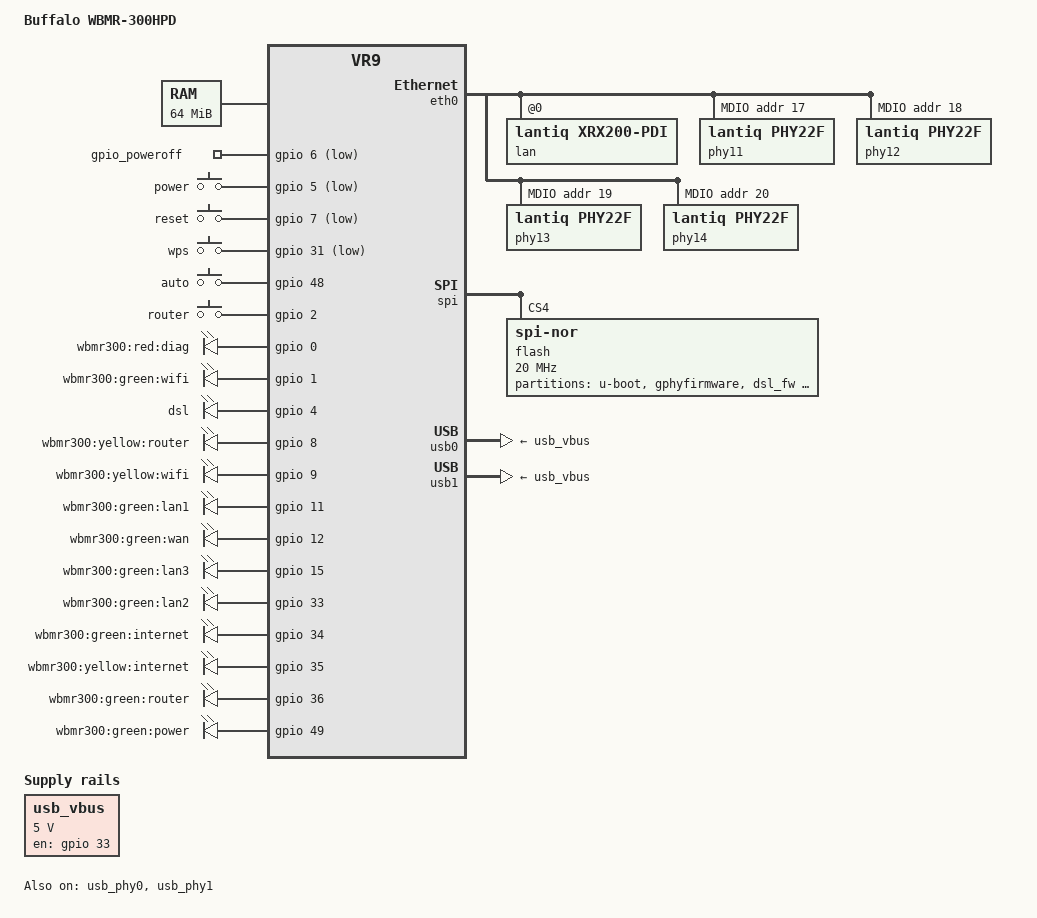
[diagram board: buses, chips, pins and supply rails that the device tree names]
/dts-v1/;

#include "vr9.dtsi"

#include <dt-bindings/input/input.h>
#include <dt-bindings/mips/lantiq_rcu_gphy.h>

/ {
	compatible = "buffalo,wbmr-300hpd", "lantiq,xway", "lantiq,vr9";
	model = "Buffalo WBMR-300HPD";

	chosen {
		bootargs = "console=ttyLTQ0,115200";
	};

	aliases {
		led-boot = &power_g;
		led-failsafe = &diag_r;
		led-running = &power_g;
		led-upgrade = &power_g;

		led-dsl = &dsl;
		led-internet = &router_g;
		led-wifi = &wifi_g;
	};

	memory@0 {
		device_type = "memory";
		reg = <0x0 0x4000000>;
	};

	gpio_poweroff {
		compatible = "gpio-poweroff";
		gpios = <&gpio 6 GPIO_ACTIVE_LOW>;
	};

	keys {
		compatible = "gpio-keys-polled";
		poll-interval = <100>;

		power {
			label = "power";
			gpios = <&gpio 5 GPIO_ACTIVE_LOW>;
			linux,code = <KEY_POWER>;
		};

		reset {
			label = "reset";
			gpios = <&gpio 7 GPIO_ACTIVE_LOW>;
			linux,code = <KEY_RESTART>;
		};

		wps {
			label = "wps";
			gpios = <&gpio 31 GPIO_ACTIVE_LOW>;
			linux,code = <KEY_WPS_BUTTON>;
		};

		auto {
			label = "auto";
			gpios = <&gpio 48 GPIO_ACTIVE_HIGH>;
			linux,code = <BTN_0>;
			linux,input-type = <EV_SW>;
		};

		router {
			label = "router";
			gpios = <&gpio 2 GPIO_ACTIVE_HIGH>;
			linux,code = <BTN_1>;
			linux,input-type = <EV_SW>;
		};
	};

	leds {
		compatible = "gpio-leds";

		diag_r: diag_r {
			label = "wbmr300:red:diag";
			gpios = <&gpio 0 GPIO_ACTIVE_HIGH>;
			default_state = "off";
		};

		wifi_g: wifi_g {
			label = "wbmr300:green:wifi";
			gpios = <&gpio 1 GPIO_ACTIVE_HIGH>;
		};

		dsl: dsl {
			label = "dsl";
			gpios = <&gpio 4 GPIO_ACTIVE_HIGH>;
		};

		router_y: router_y {
			label = "wbmr300:yellow:router";
			gpios = <&gpio 8 GPIO_ACTIVE_HIGH>;
		};

		wifi_y: wifi_y {
			label = "wbmr300:yellow:wifi";
			gpios = <&gpio 9 GPIO_ACTIVE_HIGH>;
		};

		lan1: lan1 {
			label = "wbmr300:green:lan1";
			gpios = <&gpio 11 GPIO_ACTIVE_HIGH>;
		};

		wan: wan {
			label = "wbmr300:green:wan";
			gpios = <&gpio 12 GPIO_ACTIVE_HIGH>;
		};

		lan3: lan3 {
			label = "wbmr300:green:lan3";
			gpios = <&gpio 15 GPIO_ACTIVE_HIGH>;
		};

		lan2: lan2 {
			label = "wbmr300:green:lan2";
			gpios = <&gpio 33 GPIO_ACTIVE_HIGH>;
		};

		internet_g: internet_g {
			label = "wbmr300:green:internet";
			gpios = <&gpio 34 GPIO_ACTIVE_HIGH>;
		};

		internet_y: internet_y {
			label = "wbmr300:yellow:internet";
			gpios = <&gpio 35 GPIO_ACTIVE_HIGH>;
		};

		router_g: router_g {
			label = "wbmr300:green:router";
			gpios = <&gpio 36 GPIO_ACTIVE_HIGH>;
		};

		power_g: power_g {
			label = "wbmr300:green:power";
			gpios = <&gpio 49 GPIO_ACTIVE_HIGH>;
		};
	};

	usb_vbus: regulator-usb-vbus {
		compatible = "regulator-fixed";

		regulator-name = "USB_VBUS";

		regulator-min-microvolt = <5000000>;
		regulator-max-microvolt = <5000000>;

		gpio = <&gpio 33 GPIO_ACTIVE_HIGH>;
		enable-active-high;
	};
};

&eth0 {
	lan: interface@0 {
		compatible = "lantiq,xrx200-pdi";
		#address-cells = <1>;
		#size-cells = <0>;
		reg = <0>;
		lantiq,switch;

		ethernet@1 {
			compatible = "lantiq,xrx200-pdi-port";
			reg = <4>;
			phy-mode = "mii";
			phy-handle = <&phy13>;
		};
		ethernet@2 {
			compatible = "lantiq,xrx200-pdi-port";
			reg = <5>;
			phy-mode = "mii";
			phy-handle = <&phy14>;
		};
		ethernet@3 {
			compatible = "lantiq,xrx200-pdi-port";
			reg = <2>;
			phy-mode = "mii";
			phy-handle = <&phy11>;
		};
		ethernet@4 {
			compatible = "lantiq,xrx200-pdi-port";
			reg = <3>;
			phy-mode = "mii";
			phy-handle = <&phy12>;
		};
	};

	mdio {
		#address-cells = <1>;
		#size-cells = <0>;
		compatible = "lantiq,xrx200-mdio";

		phy11: ethernet-phy@11 {
			reg = <0x11>;
			compatible = "lantiq,phy22f", "ethernet-phy-ieee802.3-c22";
		};
		phy12: ethernet-phy@12 {
			reg = <0x12>;
			compatible = "lantiq,phy22f", "ethernet-phy-ieee802.3-c22";
		};
		phy13: ethernet-phy@13 {
			reg = <0x13>;
			compatible = "lantiq,phy22f", "ethernet-phy-ieee802.3-c22";
		};
		phy14: ethernet-phy@14 {
			reg = <0x14>;
			compatible = "lantiq,phy22f", "ethernet-phy-ieee802.3-c22";
		};
	};
};

&gphy0 {
	lantiq,gphy-mode = <GPHY_MODE_FE>;
};

&gphy1 {
	lantiq,gphy-mode = <GPHY_MODE_FE>;
};

&gpio {
	pinctrl-names = "default";
	pinctrl-0 = <&state_default>;

	state_default: pinmux {
		phy-rst {
			lantiq,pins = "io42";
			lantiq,pull = <0>;
			lantiq,open-drain = <0>;
			lantiq,output = <1>;
		};
		pcie-rst {
			lantiq,pins = "io38";
			lantiq,pull = <0>;
			lantiq,output = <1>;
		};
	};
};

&spi {
	status = "okay";

	flash@4 {
		compatible = "jedec,spi-nor";
		reg = <4>;
		spi-max-frequency = <20000000>;

		partitions {
			#address-cells = <1>;
			#size-cells = <1>;

			partition@0 {
				reg = <0x0 0x10000>;
				label = "u-boot";
				read-only;
			};

			partition@10000 {
				reg = <0x10000 0x10000>;
				label = "gphyfirmware";
				read-only;
			};

			partition@20000 {
				reg = <0x20000 0x80000>;
				label = "dsl_fw";
			};

			partition@de0000 {
				reg = <0xa0000 0xf40000>;
				label = "firmware";
			};

			partition@fe0000 {
				reg = <0xfe0000 0x10000>;
				label = "sysconfig";
				read-only;
			};

			partition@ff0000 {
				reg = <0xff0000 0x2000>;
				label = "u-boot-env";
			};

			partition@ff3000 {
				reg = <0xff3000 0x2000>;
				label = "board_config";
				read-only;
			};
		};
	};
};

&usb_phy0 {
	status = "okay";
};

&usb_phy1 {
	status = "okay";
};

&usb0 {
	status = "okay";
	vbus-supply = <&usb_vbus>;
};

&usb1 {
	status = "okay";
	vbus-supply = <&usb_vbus>;
};
